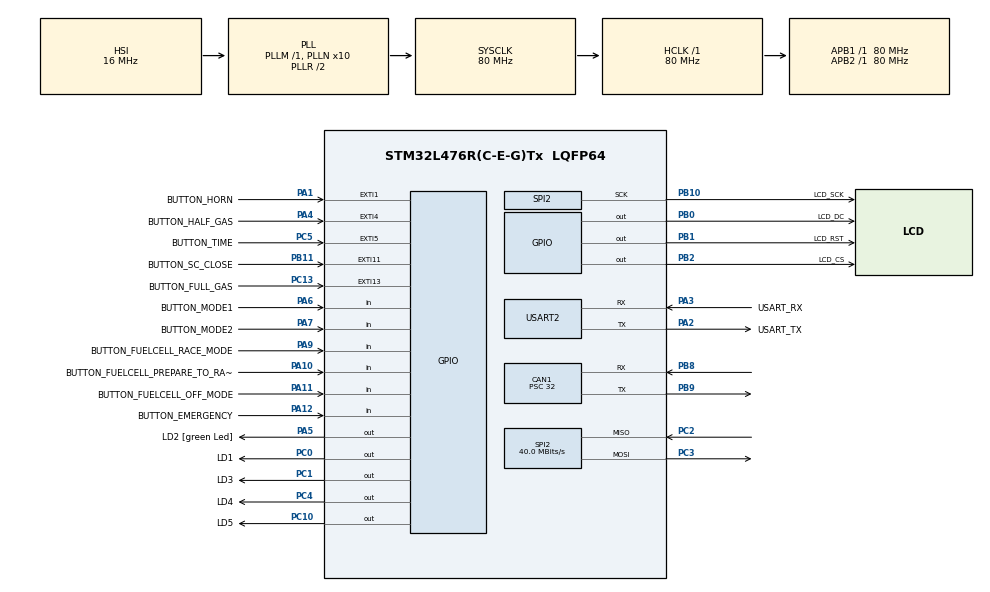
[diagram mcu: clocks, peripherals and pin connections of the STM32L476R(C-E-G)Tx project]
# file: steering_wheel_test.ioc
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CAN1.BS1=CAN_BS1_3TQ
CAN1.CalculateBaudRate=500000
CAN1.CalculateTimeBit=2000
CAN1.CalculateTimeQuantum=400.0
CAN1.Mode=CAN_MODE_NORMAL
CAN1.Prescaler=32
Dma.Request0=SPI2_TX
Dma.SPI2_TX.0.Direction=DMA_MEMORY_TO_PERIPH
Dma.SPI2_TX.0.Instance=DMA1_Channel5
Dma.SPI2_TX.0.MemDataAlignment=DMA_MDATAALIGN_BYTE
Dma.SPI2_TX.0.MemInc=DMA_MINC_ENABLE
Dma.SPI2_TX.0.Mode=DMA_NORMAL
Dma.SPI2_TX.0.PeriphDataAlignment=DMA_PDATAALIGN_BYTE
Dma.SPI2_TX.0.PeriphInc=DMA_PINC_DISABLE
Dma.SPI2_TX.0.Priority=DMA_PRIORITY_LOW
Mcu.Family=STM32L4
Mcu.Name=STM32L476R(C-E-G)Tx
Mcu.Package=LQFP64
NVIC.CAN1_RX0_IRQn=true\:5\:0\:true\:false\:true\:true\:true\:true
NVIC.DMA1_Channel5_IRQn=true\:0\:0\:false\:false\:true\:false\:true\:true
NVIC.EXTI15_10_IRQn=true\:0\:0\:false\:false\:true\:true\:true\:true
NVIC.EXTI1_IRQn=true\:0\:0\:false\:false\:true\:true\:true\:true
NVIC.EXTI4_IRQn=true\:0\:0\:true\:false\:true\:true\:true\:true
NVIC.EXTI9_5_IRQn=true\:0\:0\:false\:false\:true\:true\:true\:true
NVIC.PriorityGroup=NVIC_PRIORITYGROUP_4
NVIC.SPI2_IRQn=true\:0\:0\:true\:false\:true\:true\:true\:true
NVIC.TIM6_DAC_IRQn=true\:0\:0\:true\:false\:true\:true\:true\:true
NVIC.TIM7_IRQn=true\:0\:0\:false\:false\:true\:true\:true\:true
PA1.GPIO_Label=BUTTON_HORN
PA1.GPIO_ModeDefaultEXTI=GPIO_MODE_IT_RISING_FALLING
PA1.GPIO_PuPd=GPIO_PULLUP
PA1.Signal=GPXTI1
PA10.GPIO_Label=BUTTON_FUELCELL_PREPARE_TO_RACE_MODE
PA10.GPIO_PuPd=GPIO_PULLUP
PA10.Signal=GPIO_Input
PA11.GPIO_Label=BUTTON_FUELCELL_OFF_MODE
PA11.GPIO_PuPd=GPIO_PULLUP
PA11.Signal=GPIO_Input
PA12.GPIO_Label=BUTTON_EMERGENCY
PA12.GPIO_PuPd=GPIO_PULLUP
PA12.Signal=GPIO_Input
PA13\ (JTMS-SWDIO).GPIO_Label=TMS
PA13\ (JTMS-SWDIO).Mode=Trace_Asynchronous_SW
PA13\ (JTMS-SWDIO).Signal=SYS_JTMS-SWDIO
PA14\ (JTCK-SWCLK).GPIO_Label=TCK
PA14\ (JTCK-SWCLK).Mode=Trace_Asynchronous_SW
PA14\ (JTCK-SWCLK).Signal=SYS_JTCK-SWCLK
PA2.GPIO_Label=USART_TX
PA2.GPIO_Mode=GPIO_MODE_AF_PP
PA2.GPIO_PuPd=GPIO_NOPULL
PA2.GPIO_Speed=GPIO_SPEED_FREQ_VERY_HIGH
PA2.Mode=Asynchronous
PA2.Signal=USART2_TX
PA3.GPIO_Label=USART_RX
PA3.GPIO_Mode=GPIO_MODE_AF_PP
PA3.GPIO_PuPd=GPIO_NOPULL
PA3.GPIO_Speed=GPIO_SPEED_FREQ_VERY_HIGH
PA3.Mode=Asynchronous
PA3.Signal=USART2_RX
PA4.GPIO_Label=BUTTON_HALF_GAS
PA4.GPIO_ModeDefaultEXTI=GPIO_MODE_IT_RISING_FALLING
PA4.GPIO_PuPd=GPIO_PULLUP
PA4.Signal=GPXTI4
PA5.GPIO_Label=LD2 [green Led]
PA5.GPIO_ModeDefaultOutputPP=GPIO_MODE_OUTPUT_PP
PA5.GPIO_PuPd=GPIO_NOPULL
PA5.GPIO_Speed=GPIO_SPEED_FREQ_LOW
PA5.Signal=GPIO_Output
PA6.GPIO_Label=BUTTON_MODE1
PA6.GPIO_PuPd=GPIO_PULLUP
PA6.Signal=GPIO_Input
PA7.GPIO_Label=BUTTON_MODE2
PA7.GPIO_PuPd=GPIO_PULLUP
PA7.Signal=GPIO_Input
PA9.GPIO_Label=BUTTON_FUELCELL_RACE_MODE
PA9.GPIO_PuPd=GPIO_PULLUP
PA9.Signal=GPIO_Input
PB0.GPIO_Label=LCD_DC
PB0.Signal=GPIO_Output
PB1.GPIO_Label=LCD_RST
PB1.Signal=GPIO_Output
PB10.GPIO_Label=LCD_SCK
PB10.Mode=Full_Duplex_Master
PB10.Signal=SPI2_SCK
PB11.GPIO_Label=BUTTON_SC_CLOSE
PB11.GPIO_ModeDefaultEXTI=GPIO_MODE_IT_RISING_FALLING
PB11.GPIO_PuPd=GPIO_PULLUP
PB11.Signal=GPXTI11
PB2.GPIO_Label=LCD_CS
PB2.Signal=GPIO_Output
PB3\ (JTDO-TRACESWO).GPIO_Label=SWO
PB3\ (JTDO-TRACESWO).Mode=Trace_Asynchronous_SW
PB3\ (JTDO-TRACESWO).Signal=SYS_JTDO-SWO
PB8.Mode=CAN_Activate
PB8.Signal=CAN1_RX
PB9.Mode=CAN_Activate
PB9.Signal=CAN1_TX
PC0.GPIO_Label=LD1
PC0.Signal=GPIO_Output
PC1.GPIO_Label=LD3
PC1.Signal=GPIO_Output
PC10.GPIO_Label=LD5
PC10.Signal=GPIO_Output
PC13.GPIO_Label=BUTTON_FULL_GAS
PC13.GPIO_ModeDefaultEXTI=GPIO_MODE_IT_RISING_FALLING
PC13.Signal=GPXTI13
PC14-OSC32_IN\ (PC14).Mode=LSE-External-Oscillator
PC14-OSC32_IN\ (PC14).Signal=RCC_OSC32_IN
PC15-OSC32_OUT\ (PC15).Mode=LSE-External-Oscillator
PC15-OSC32_OUT\ (PC15).Signal=RCC_OSC32_OUT
PC2.Mode=Full_Duplex_Master
PC2.Signal=SPI2_MISO
PC3.Mode=Full_Duplex_Master
PC3.Signal=SPI2_MOSI
PC4.GPIO_Label=LD4
PC4.Signal=GPIO_Output
PC5.GPIO_Label=BUTTON_TIME
PC5.GPIO_ModeDefaultEXTI=GPIO_MODE_IT_RISING_FALLING
PC5.GPIO_PuPd=GPIO_PULLUP
PC5.Signal=GPXTI5
PH0-OSC_IN\ (PH0).Mode=HSE-External-Oscillator
PH0-OSC_IN\ (PH0).Signal=RCC_OSC_IN
PH1-OSC_OUT\ (PH1).Mode=HSE-External-Oscillator
PH1-OSC_OUT\ (PH1).Signal=RCC_OSC_OUT
ProjectManager.HeapSize=0x200
ProjectManager.StackSize=0x400
ProjectManager.TargetToolchain=CMake
RCC.ADCFreq_Value=64000000
RCC.AHBFreq_Value=80000000
RCC.APB1Freq_Value=80000000
RCC.APB1TimFreq_Value=80000000
RCC.APB2Freq_Value=80000000
RCC.APB2TimFreq_Value=80000000
RCC.CortexFreq_Value=80000000
RCC.HCLKFreq_Value=80000000
RCC.HSE_VALUE=8000000
RCC.HSI_VALUE=16000000
RCC.MSI_VALUE=4000000
RCC.PLLN=10
RCC.PLLSourceVirtual=RCC_PLLSOURCE_HSI
RCC.PREFETCH_ENABLE=1
RCC.SYSCLKFreq_VALUE=80000000
RCC.SYSCLKSource=RCC_SYSCLKSOURCE_PLLCLK
RCC.USBFreq_Value=64000000
RCC.VCOOutputFreq_Value=160000000
SPI2.CalculateBaudRate=40.0 MBits/s
SPI2.DataSize=SPI_DATASIZE_8BIT
SPI2.Direction=SPI_DIRECTION_2LINES
SPI2.Mode=SPI_MODE_MASTER
SPI2.VirtualType=VM_MASTER
TIM6.AutoReloadPreload=TIM_AUTORELOAD_PRELOAD_ENABLE
TIM6.Period=200-1
TIM6.Prescaler=8000-1
TIM7.Period=100-1
TIM7.Prescaler=8000-1
USART2.VirtualMode-Asynchronous=VM_ASYNC
VP_TIM6_VS_ClockSourceINT.Mode=Enable_Timer
VP_TIM7_VS_ClockSourceINT.Mode=Enable_Timer
board=NUCLEO-L476RG

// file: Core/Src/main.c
/* USER CODE BEGIN Header */
/**
  ******************************************************************************
  * @file           : main.c
  * @brief          : Main program body
  ******************************************************************************
  * @attention
  *
  * Copyright (c) 2025 STMicroelectronics.
  * All rights reserved.
  *
  * This software is licensed under terms that can be found in the LICENSE file
  * in the root directory of this software component.
  * If no LICENSE file comes with this software, it is provided AS-IS.
  *
  ******************************************************************************
  */
/* USER CODE END Header */
#include "main.h"
#include "can.h"
#include "dma.h"
#include "spi.h"
#include "tim.h"
#include "usart.h"
#include "gpio.h"

/* USER CODE BEGIN Includes */
#include "lvgl.h"
#include "lcd_controller.h"
#include "button.h"
#include "can_controller.h"
#include "ui.h"
#include "screens.h"
#include "steering_wheel.h"
/* USER CODE END Includes */

/* USER CODE BEGIN PV */
extern lv_meter_indicator_t* indicator1;

/* USER CODE END PV */

void SystemClock_Config(void);

/* USER CODE BEGIN 0 */
int __io_putchar(int ch)
{
    if (ch == '\n') {
        uint8_t ch2 = '\r';
        HAL_UART_Transmit(&huart2, &ch2, 1, HAL_MAX_DELAY);
    }
    HAL_UART_Transmit(&huart2, (uint8_t*)&ch, 1, HAL_MAX_DELAY);
    return 1;
}

/* USER CODE END 0 */

int main(void)
{

  /* MCU Configuration--------------------------------------------------------*/

  /* Reset of all peripherals, Initializes the Flash interface and the Systick. */
  HAL_Init();

  /* Configure the system clock */
  SystemClock_Config();

  /* Initialize all configured peripherals */
  MX_GPIO_Init();
  MX_DMA_Init();
  MX_SPI2_Init();
  MX_USART2_UART_Init();
  MX_CAN1_Init();
  MX_TIM6_Init();
  MX_TIM7_Init();
  /* USER CODE BEGIN 2 */
  steering_wheel_init();
  /* USER CODE END 2 */

  /* Infinite loop */
  /* USER CODE BEGIN WHILE */
  while (1)
  {
    steering_wheel_loop();
  //   printf("data = %u\n", rx_data);
  //disp_set_vehicle_speed(speed, send_vehicle_speed_flag);

  HAL_Delay(5);

    /* USER CODE END WHILE */

  }
}

void SystemClock_Config(void)
{
  RCC_OscInitTypeDef RCC_OscInitStruct = {0};
  RCC_ClkInitTypeDef RCC_ClkInitStruct = {0};

  /** Configure the main internal regulator output voltage
  */
  if (HAL_PWREx_ControlVoltageScaling(PWR_REGULATOR_VOLTAGE_SCALE1) != HAL_OK)
  {
    Error_Handler();
  }

  /** Initializes the RCC Oscillators according to the specified parameters
  * in the RCC_OscInitTypeDef structure.
  */
  RCC_OscInitStruct.OscillatorType = RCC_OSCILLATORTYPE_HSI;
  RCC_OscInitStruct.HSIState = RCC_HSI_ON;
  RCC_OscInitStruct.HSICalibrationValue = RCC_HSICALIBRATION_DEFAULT;
  RCC_OscInitStruct.PLL.PLLState = RCC_PLL_ON;
  RCC_OscInitStruct.PLL.PLLSource = RCC_PLLSOURCE_HSI;
  RCC_OscInitStruct.PLL.PLLM = 1;
  RCC_OscInitStruct.PLL.PLLN = 10;
  RCC_OscInitStruct.PLL.PLLP = RCC_PLLP_DIV7;
  RCC_OscInitStruct.PLL.PLLQ = RCC_PLLQ_DIV2;
  RCC_OscInitStruct.PLL.PLLR = RCC_PLLR_DIV2;
  if (HAL_RCC_OscConfig(&RCC_OscInitStruct) != HAL_OK)
  {
    Error_Handler();
  }

  /** Initializes the CPU, AHB and APB buses clocks
  */
  RCC_ClkInitStruct.ClockType = RCC_CLOCKTYPE_HCLK|RCC_CLOCKTYPE_SYSCLK
                              |RCC_CLOCKTYPE_PCLK1|RCC_CLOCKTYPE_PCLK2;
  RCC_ClkInitStruct.SYSCLKSource = RCC_SYSCLKSOURCE_PLLCLK;
  RCC_ClkInitStruct.AHBCLKDivider = RCC_SYSCLK_DIV1;
  RCC_ClkInitStruct.APB1CLKDivider = RCC_HCLK_DIV1;
  RCC_ClkInitStruct.APB2CLKDivider = RCC_HCLK_DIV1;

  if (HAL_RCC_ClockConfig(&RCC_ClkInitStruct, FLASH_LATENCY_4) != HAL_OK)
  {
    Error_Handler();
  }
}

void Error_Handler(void)
{
  __disable_irq();
  while (1)
  {
  }
}
